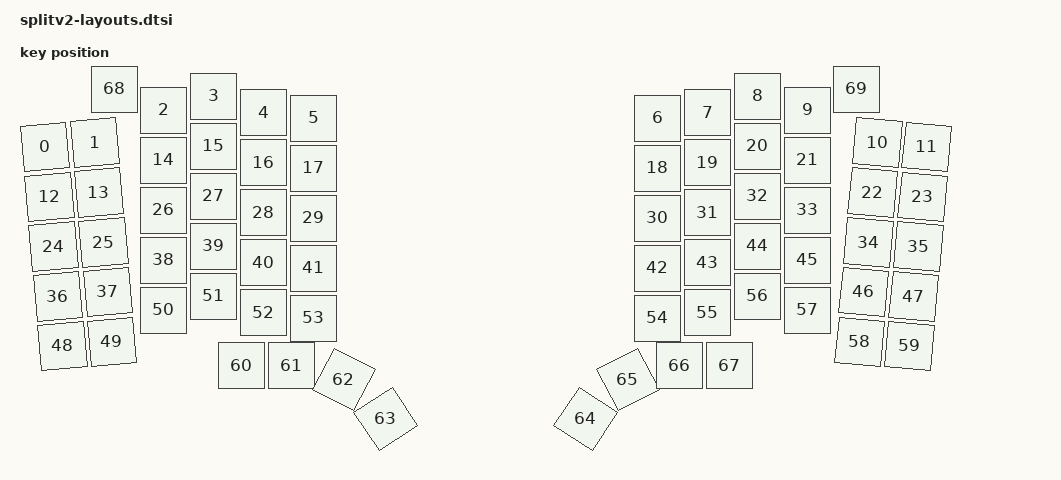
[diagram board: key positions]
/*
 * Copyright (c) 2026 The ZMK Contributors
 * SPDX-License-Identifier: MIT
 *
 * Positions are taken from split/v2/keyboard.kicad_pcb.
 * 1u = 18mm choc spacing. The right half is this board mirrored.
 */

#include <physical_layouts.dtsi>

/ {
    physical_layout0: physical_layout_0 {
        compatible = "zmk,physical-layout";
        display-name = "Split V2";

        keys
            // w h x y rot rx ry
            = <&key_physical_attrs 100 100 0 116 (-500) 50 166> // L_macro_fn
            , <&key_physical_attrs 100 100 100 107 (-500) 150 157> // L_pinky_fn
            , <&key_physical_attrs 100 100 238 42 0 288 92> // L_ring_fn
            , <&key_physical_attrs 100 100 338 14 0 388 64> // L_middle_fn
            , <&key_physical_attrs 100 100 438 47 0 488 97> // L_index_fn
            , <&key_physical_attrs 100 100 538 58 0 588 108> // L_inner_fn
            , <&key_physical_attrs 100 100 1226 58 0 1276 108> // R_inner_fn
            , <&key_physical_attrs 100 100 1326 47 0 1376 97> // R_index_fn
            , <&key_physical_attrs 100 100 1426 14 0 1476 64> // R_middle_fn
            , <&key_physical_attrs 100 100 1526 42 0 1576 92> // R_ring_fn
            , <&key_physical_attrs 100 100 1665 107 500 1715 157> // R_pinky_fn
            , <&key_physical_attrs 100 100 1764 116 500 1814 166> // R_macro_fn
            , <&key_physical_attrs 100 100 9 216 (-500) 59 266> // L_macro_nums
            , <&key_physical_attrs 100 100 108 207 (-500) 158 257> // L_pinky_nums
            , <&key_physical_attrs 100 100 238 142 0 288 192> // L_ring_nums
            , <&key_physical_attrs 100 100 338 114 0 388 164> // L_middle_nums
            , <&key_physical_attrs 100 100 438 147 0 488 197> // L_index_nums
            , <&key_physical_attrs 100 100 538 158 0 588 208> // L_inner_nums
            , <&key_physical_attrs 100 100 1226 158 0 1276 208> // R_inner_nums
            , <&key_physical_attrs 100 100 1326 147 0 1376 197> // R_index_nums
            , <&key_physical_attrs 100 100 1426 114 0 1476 164> // R_middle_nums
            , <&key_physical_attrs 100 100 1526 142 0 1576 192> // R_ring_nums
            , <&key_physical_attrs 100 100 1656 207 500 1706 257> // R_pinky_nums
            , <&key_physical_attrs 100 100 1756 216 500 1806 266> // R_macro_nums
            , <&key_physical_attrs 100 100 17 315 (-500) 67 365> // L_macro_top
            , <&key_physical_attrs 100 100 117 307 (-500) 167 357> // L_pinky_top
            , <&key_physical_attrs 100 100 238 242 0 288 292> // L_ring_top
            , <&key_physical_attrs 100 100 338 214 0 388 264> // L_middle_top
            , <&key_physical_attrs 100 100 438 247 0 488 297> // L_index_top
            , <&key_physical_attrs 100 100 538 258 0 588 308> // L_inner_top
            , <&key_physical_attrs 100 100 1226 258 0 1276 308> // R_inner_top
            , <&key_physical_attrs 100 100 1326 247 0 1376 297> // R_index_top
            , <&key_physical_attrs 100 100 1426 214 0 1476 264> // R_middle_top
            , <&key_physical_attrs 100 100 1526 242 0 1576 292> // R_ring_top
            , <&key_physical_attrs 100 100 1647 307 500 1697 357> // R_pinky_top
            , <&key_physical_attrs 100 100 1747 315 500 1797 365> // R_macro_top
            , <&key_physical_attrs 100 100 26 415 (-500) 76 465> // L_macro_home
            , <&key_physical_attrs 100 100 126 406 (-500) 176 456> // L_pinky_home
            , <&key_physical_attrs 100 100 238 342 0 288 392> // L_ring_home
            , <&key_physical_attrs 100 100 338 314 0 388 364> // L_middle_home
            , <&key_physical_attrs 100 100 438 347 0 488 397> // L_index_home
            , <&key_physical_attrs 100 100 538 358 0 588 408> // L_inner_home
            , <&key_physical_attrs 100 100 1226 358 0 1276 408> // R_inner_home
            , <&key_physical_attrs 100 100 1326 347 0 1376 397> // R_index_home
            , <&key_physical_attrs 100 100 1426 314 0 1476 364> // R_middle_home
            , <&key_physical_attrs 100 100 1526 342 0 1576 392> // R_ring_home
            , <&key_physical_attrs 100 100 1638 406 500 1688 456> // R_pinky_home
            , <&key_physical_attrs 100 100 1738 415 500 1788 465> // R_macro_home
            , <&key_physical_attrs 100 100 35 514 (-500) 85 564> // L_macro_bottom
            , <&key_physical_attrs 100 100 134 506 (-500) 184 556> // L_pinky_bottom
            , <&key_physical_attrs 100 100 238 442 0 288 492> // L_ring_bottom
            , <&key_physical_attrs 100 100 338 414 0 388 464> // L_middle_bottom
            , <&key_physical_attrs 100 100 438 447 0 488 497> // L_index_bottom
            , <&key_physical_attrs 100 100 538 458 0 588 508> // L_inner_bottom
            , <&key_physical_attrs 100 100 1226 458 0 1276 508> // R_inner_bottom
            , <&key_physical_attrs 100 100 1326 447 0 1376 497> // R_index_bottom
            , <&key_physical_attrs 100 100 1426 414 0 1476 464> // R_middle_bottom
            , <&key_physical_attrs 100 100 1526 442 0 1576 492> // R_ring_bottom
            , <&key_physical_attrs 100 100 1630 506 500 1680 556> // R_pinky_bottom
            , <&key_physical_attrs 100 100 1729 514 500 1779 564> // R_macro_bottom
            , <&key_physical_attrs 100 100 394 553 0 444 603> // L_nearest
            , <&key_physical_attrs 100 100 494 553 0 544 603> // L_near
            , <&key_physical_attrs 100 100 598 581 2800 648 631> // L_home_thumb
            , <&key_physical_attrs 100 100 682 660 5600 732 710> // L_far
            , <&key_physical_attrs 100 100 1082 660 (-5600) 1132 710> // R_far
            , <&key_physical_attrs 100 100 1166 581 (-2800) 1216 631> // R_home_thumb
            , <&key_physical_attrs 100 100 1270 553 0 1320 603> // R_near
            , <&key_physical_attrs 100 100 1370 553 0 1420 603> // R_nearest
            , <&key_physical_attrs 100 100 140 0 0 190 50> // L_enc
            , <&key_physical_attrs 100 100 1624 0 0 1674 50> // R_enc
            ;
    };
};
